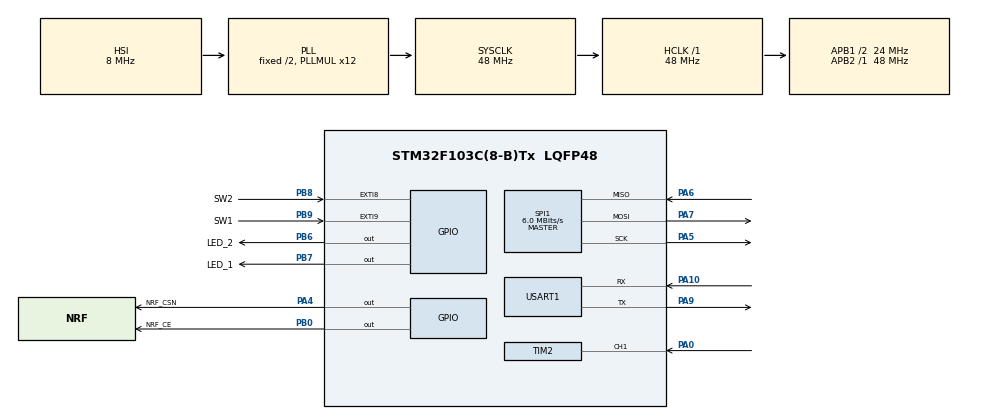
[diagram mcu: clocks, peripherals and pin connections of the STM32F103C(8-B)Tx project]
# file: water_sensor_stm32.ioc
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Mcu.Family=STM32F1
PA6.Mode=Full_Duplex_Master
TIM2.Channel-Input_Capture1_from_TI1=TIM_CHANNEL_1
PA7.Mode=Full_Duplex_Master
PD1-OSC_OUT.Mode=HSE-External-Oscillator
PB9.GPIO_Label=SW1
PA10.Mode=Asynchronous
SPI1.VirtualType=VM_MASTER
PB8.GPIO_PuPd=GPIO_PULLUP
PB0.GPIO_Label=NRF_CE
PB6.GPIO_Label=LED_2
PD0-OSC_IN.Signal=RCC_OSC_IN
RCC.APB1CLKDivider=RCC_HCLK_DIV2
RCC.SYSCLKSource=RCC_SYSCLKSOURCE_PLLCLK
ProjectManager.StackSize=0x400
PA0-WKUP.Signal=S_TIM2_CH1_ETR
PD1-OSC_OUT.Signal=RCC_OSC_OUT
PA13.Signal=SYS_JTMS-SWDIO
PB8.GPIO_Label=SW2
PA9.Mode=Asynchronous
ProjectManager.TargetToolchain=STM32CubeIDE
SPI1.Direction=SPI_DIRECTION_2LINES
RCC.HCLKFreq_Value=48000000
RCC.APB2TimFreq_Value=48000000
PA9.Signal=USART1_TX
PB6.Signal=GPIO_Output
SPI1.CalculateBaudRate=6.0 MBits/s
RCC.USBFreq_Value=48000000
RCC.AHBFreq_Value=48000000
PD0-OSC_IN.Mode=HSE-External-Oscillator
PA5.Signal=SPI1_SCK
board=custom
RCC.PLLMUL=RCC_PLL_MUL12
RCC.APB2Freq_Value=48000000
SPI1.Mode=SPI_MODE_MASTER
PA14.Mode=Serial_Wire
NVIC.TIM2_IRQn=true\:0\:0\:false\:false\:true\:true\:true
PB7.Signal=GPIO_Output
TIM2.Period=0xFFFF
PA13.Mode=Serial_Wire
Mcu.Name=STM32F103C(8-B)Tx
PB7.GPIO_Label=LED_1
PA4.Signal=GPIO_Output
RCC.SYSCLKFreq_VALUE=48000000
Mcu.Package=LQFP48
PB9.Signal=GPXTI9
TIM2.Prescaler=48-1
PA6.Signal=SPI1_MISO
USART1.VirtualMode=VM_ASYNC
SH.S_TIM2_CH1_ETR.0=TIM2_CH1,Input_Capture1_from_TI1
NVIC.EXTI9_5_IRQn=true\:0\:0\:false\:false\:true\:true\:true
PA10.Signal=USART1_RX
PA14.Signal=SYS_JTCK-SWCLK
PB9.GPIO_PuPd=GPIO_PULLUP
ProjectManager.HeapSize=0x200
NVIC.PriorityGroup=NVIC_PRIORITYGROUP_4
RCC.APB1TimFreq_Value=48000000
PB8.Signal=GPXTI8
RCC.APB1Freq_Value=24000000
SPI1.BaudRatePrescaler=SPI_BAUDRATEPRESCALER_8
PB0.Signal=GPIO_Output
PA4.GPIO_Label=NRF_CSN
PA5.Mode=Full_Duplex_Master
PA7.Signal=SPI1_MOSI

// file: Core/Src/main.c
/* USER CODE BEGIN Header */
/**
 ******************************************************************************
 * @file           : main.c
 * @brief          : Main program body
 ******************************************************************************
 * @attention
 *
 * <h2><center>&copy; Copyright (c) 2021 STMicroelectronics.
 * All rights reserved.</center></h2>
 *
 * This software component is licensed by ST under BSD 3-Clause license,
 * the "License"; You may not use this file except in compliance with the
 * License. You may obtain a copy of the License at:
 *                        opensource.org/licenses/BSD-3-Clause
 *
 ******************************************************************************
 */
/* USER CODE END Header */
#include "main.h"

/* USER CODE BEGIN Includes */
#include "stdio.h"
#include "string.h"
#include "float.h"
#include "nrf24.h"
#include "messages_stm.pb.h"
#include "pb.h"
#include "pb_encode.h"
#include "pb_decode.h"
#include "pb_common.h"
#include "flash_f1.h"
/* USER CODE END Includes */

/* USER CODE BEGIN PD */
#define FLASH_PAGE_ADDR 0x0801FC00
/* USER CODE END PD */

/* USER CODE BEGIN PM */
uint32_t sample1 = 0, sample2 = 0, diff = 0, freq = 0;
float cons_inst = 0, cons_total = 0;
uint8_t is_sample1 = 1, enable_send = 0;
uint16_t samples_freq[1024], n_samples = 0;

float aux_cons_inst = 0;
int samples = 0;

uint8_t master_address[6] = {"HUB01"};
uint8_t sensor_address[6] = {"0NODE"};
uint8_t pairing_address[6] = {"1NODE"};
char sensor_serial[6] = "WA101";
bool pairingMode = false;
uint8_t data[32];
uint8_t length;
/* USER CODE END PM */

SPI_HandleTypeDef hspi1;

TIM_HandleTypeDef htim2;

UART_HandleTypeDef huart1;

void SystemClock_Config(void);
static void MX_GPIO_Init(void);
static void MX_TIM2_Init(void);
static void MX_USART1_UART_Init(void);
static void MX_SPI1_Init(void);
static bool nrf_report();
static bool nrf_pairing();
static void nrf_pairing_report(char *_serial, int _channel);
/* USER CODE BEGIN PFP */
void r_PairingMessage(uint8_t *_data, int _data_len);
void w_message(double instant, int samples);
/* USER CODE END PFP */

/* USER CODE BEGIN 0 */
int _write(int file, char *ptr, int len)
{
  /* Implement your write code here, this is used by puts and printf for example */
  HAL_UART_Transmit(&huart1, (uint8_t *)ptr, len, 10);

  return len;
}

float freq_to_consumption(float freq)
{
  return ((11.086 * freq - 9.357) / 3.6); /*Eq da reta conforme datasheet - conversão para ml/s*/
}
/* USER CODE END 0 */

int main(void)
{
  /* USER CODE BEGIN 1 */
  /*Buffers flash*/
  //	uint8_t buff_write_flash[16] = {1, 2, 3, 4, 5, 6, 7, 8, 9, 10, 11, 12, 13, 14, 15, 16};
  //	uint8_t buff_read_flash[16];
  /* USER CODE END 1 */

  /* MCU Configuration--------------------------------------------------------*/

  /* Reset of all peripherals, Initializes the Flash interface and the Systick. */
  HAL_Init();

  /* Configure the system clock */
  SystemClock_Config();

  /* Initialize all configured peripherals */
  MX_GPIO_Init();
  MX_TIM2_Init();
  MX_USART1_UART_Init();
  MX_SPI1_Init();
  /* USER CODE BEGIN 2 */

  HAL_TIM_IC_Start_IT(&htim2, TIM_CHANNEL_1);

  /* Operações Flash*/
  //  Flash_Write_Data(FLASH_PAGE_ADDR , (uint32_t*)buff_write_flash, (sizeof(buff_write_flash)/sizeof(int)));
  //  Flash_Read_Data(FLASH_PAGE_ADDR , (uint32_t*)node_address[0], (sizeof(node_address[0])/sizeof(int)));

  NRF24_begin(GPIOB, NRF_CSN_Pin, NRF_CE_Pin, hspi1);

   NRF24_openWritingPipe(sensor_address, sizeof(sensor_address) - 1);

   NRF24_openReadingPipe(1, master_address, sizeof(master_address) - 1);
   //  NRF24_openReadingPipe(2, node_address[1], sizeof(node_address[1]) - 1);

   NRF24_stopListening();

   printRadioSettings();

   printf("END SETUP\n\n");

  /* Infinite loop */
  /* USER CODE BEGIN WHILE */
  while (1)
  {
    if (pairingMode)
    {
      NRF24_startListening();
      HAL_Delay(500);
      unsigned long start = HAL_GetTick();
      bool aux = false;
      while (aux != true && (unsigned long)(HAL_GetTick()) - start <= 15000)
      {
        if (nrf_pairing())
        {
          printf("\n\n[PAIRING] report");
          nrf_pairing_report(sensor_serial, 69);
          aux = true;
        }
        HAL_GPIO_TogglePin(LED_2_GPIO_Port, LED_2_Pin);
        HAL_Delay(50);
      }
      if ((unsigned long)(HAL_GetTick()) - start > 15000)
      {
        printf("\n\n[PAIRING] Timeout\n\n");
      }
      NRF24_stopListening();
      NRF24_openWritingPipe(pairing_address, sizeof(pairing_address) - 1);
      HAL_Delay(1500);
      NRF24_stopListening();
      start = HAL_GetTick();
      while (aux == true && (unsigned long)(HAL_GetTick()) - start <= 15000)
      {
        if (nrf_report())
        {
          aux = false;
          printf("\n\n[PAIRING] Success\n\n");
        }
        HAL_GPIO_TogglePin(LED_2_GPIO_Port, LED_2_Pin);
        HAL_Delay(250);
      }
      if ((unsigned long)(HAL_GetTick()) - start > 15000)
      {
        printf("\n\n[PAIRING] Timeout\n\n");
      }

      pairingMode = false;
      HAL_GPIO_WritePin(LED_2_GPIO_Port, LED_2_Pin, GPIO_PIN_SET);
      NRF24_stopListening();
      NRF24_openWritingPipe(sensor_address, sizeof(sensor_address) - 1);
      HAL_Delay(1500);
      NRF24_stopListening();
    }

    HAL_GPIO_TogglePin(GPIOC, GPIO_PIN_13);

    if (freq && n_samples > 8)
    {
      cons_inst = freq_to_consumption((float)(freq / n_samples)); // mL/s
      cons_total += (cons_inst / 1000);
      printf("Amostras: %d	Instantaneo:%.1f mL/seg Acumulado:%.3f L\r\n", (int)n_samples, cons_inst, cons_total);
      memset(samples_freq, 0, n_samples * 2);
      n_samples = 0;
      freq = 0;

      if (samples == 0)
        w_message(cons_inst, samples);
      else
        w_message(aux_cons_inst, samples);

      unsigned long start = HAL_GetTick();
      bool aux = false;
      while (aux == false && (unsigned long)(HAL_GetTick()) - start <= 500)
      {
        if (nrf_report())
        {
          aux_cons_inst = 0;
          samples = 0;
          aux = true;
          HAL_GPIO_TogglePin(LED_1_GPIO_Port, LED_1_Pin);
        }
      }
      if ((unsigned long)(HAL_GetTick()) - start > 500)
      {
        printf("\n[TX] Timeout\n");
        aux_cons_inst += cons_inst;
        samples++;
      }
    }

    HAL_Delay(1000);
    /* USER CODE END WHILE */

  }
}

void SystemClock_Config(void)
{
  RCC_OscInitTypeDef RCC_OscInitStruct = {0};
  RCC_ClkInitTypeDef RCC_ClkInitStruct = {0};

  /** Initializes the RCC Oscillators according to the specified parameters
   * in the RCC_OscInitTypeDef structure.
   */
  RCC_OscInitStruct.OscillatorType = RCC_OSCILLATORTYPE_HSI;
  RCC_OscInitStruct.HSIState = RCC_HSI_ON;
  RCC_OscInitStruct.HSICalibrationValue = RCC_HSICALIBRATION_DEFAULT;
  RCC_OscInitStruct.PLL.PLLState = RCC_PLL_ON;
  RCC_OscInitStruct.PLL.PLLSource = RCC_PLLSOURCE_HSI_DIV2;
  RCC_OscInitStruct.PLL.PLLMUL = RCC_PLL_MUL12;
  if (HAL_RCC_OscConfig(&RCC_OscInitStruct) != HAL_OK)
  {
    Error_Handler();
  }
  /** Initializes the CPU, AHB and APB buses clocks
   */
  RCC_ClkInitStruct.ClockType = RCC_CLOCKTYPE_HCLK | RCC_CLOCKTYPE_SYSCLK | RCC_CLOCKTYPE_PCLK1 | RCC_CLOCKTYPE_PCLK2;
  RCC_ClkInitStruct.SYSCLKSource = RCC_SYSCLKSOURCE_PLLCLK;
  RCC_ClkInitStruct.AHBCLKDivider = RCC_SYSCLK_DIV1;
  RCC_ClkInitStruct.APB1CLKDivider = RCC_HCLK_DIV2;
  RCC_ClkInitStruct.APB2CLKDivider = RCC_HCLK_DIV1;

  if (HAL_RCC_ClockConfig(&RCC_ClkInitStruct, FLASH_LATENCY_1) != HAL_OK)
  {
    Error_Handler();
  }
}

static void MX_SPI1_Init(void)
{

  /* SPI1 parameter configuration*/
  hspi1.Instance = SPI1;
  hspi1.Init.Mode = SPI_MODE_MASTER;
  hspi1.Init.Direction = SPI_DIRECTION_2LINES;
  hspi1.Init.DataSize = SPI_DATASIZE_8BIT;
  hspi1.Init.CLKPolarity = SPI_POLARITY_LOW;
  hspi1.Init.CLKPhase = SPI_PHASE_1EDGE;
  hspi1.Init.NSS = SPI_NSS_SOFT;
  hspi1.Init.BaudRatePrescaler = SPI_BAUDRATEPRESCALER_8;
  hspi1.Init.FirstBit = SPI_FIRSTBIT_MSB;
  hspi1.Init.TIMode = SPI_TIMODE_DISABLE;
  hspi1.Init.CRCCalculation = SPI_CRCCALCULATION_DISABLE;
  hspi1.Init.CRCPolynomial = 10;
  if (HAL_SPI_Init(&hspi1) != HAL_OK)
  {
    Error_Handler();
  }
}

static void MX_TIM2_Init(void)
{

  TIM_MasterConfigTypeDef sMasterConfig = {0};
  TIM_IC_InitTypeDef sConfigIC = {0};

  htim2.Instance = TIM2;
  htim2.Init.Prescaler = 48 - 1;
  htim2.Init.CounterMode = TIM_COUNTERMODE_UP;
  htim2.Init.Period = 0xFFFF;
  htim2.Init.ClockDivision = TIM_CLOCKDIVISION_DIV1;
  htim2.Init.AutoReloadPreload = TIM_AUTORELOAD_PRELOAD_DISABLE;
  if (HAL_TIM_IC_Init(&htim2) != HAL_OK)
  {
    Error_Handler();
  }
  sMasterConfig.MasterOutputTrigger = TIM_TRGO_RESET;
  sMasterConfig.MasterSlaveMode = TIM_MASTERSLAVEMODE_DISABLE;
  if (HAL_TIMEx_MasterConfigSynchronization(&htim2, &sMasterConfig) != HAL_OK)
  {
    Error_Handler();
  }
  sConfigIC.ICPolarity = TIM_INPUTCHANNELPOLARITY_RISING;
  sConfigIC.ICSelection = TIM_ICSELECTION_DIRECTTI;
  sConfigIC.ICPrescaler = TIM_ICPSC_DIV1;
  sConfigIC.ICFilter = 0;
  if (HAL_TIM_IC_ConfigChannel(&htim2, &sConfigIC, TIM_CHANNEL_1) != HAL_OK)
  {
    Error_Handler();
  }
}

static void MX_USART1_UART_Init(void)
{

  huart1.Instance = USART1;
  huart1.Init.BaudRate = 115200;
  huart1.Init.WordLength = UART_WORDLENGTH_8B;
  huart1.Init.StopBits = UART_STOPBITS_1;
  huart1.Init.Parity = UART_PARITY_NONE;
  huart1.Init.Mode = UART_MODE_TX_RX;
  huart1.Init.HwFlowCtl = UART_HWCONTROL_NONE;
  huart1.Init.OverSampling = UART_OVERSAMPLING_16;
  if (HAL_UART_Init(&huart1) != HAL_OK)
  {
    Error_Handler();
  }
}

static void MX_GPIO_Init(void)
{
  GPIO_InitTypeDef GPIO_InitStruct = {0};

  /* GPIO Ports Clock Enable */
  __HAL_RCC_GPIOD_CLK_ENABLE();
  __HAL_RCC_GPIOA_CLK_ENABLE();
  __HAL_RCC_GPIOB_CLK_ENABLE();

  /*Configure GPIO pin Output Level */
  HAL_GPIO_WritePin(NRF_CSN_GPIO_Port, NRF_CSN_Pin, GPIO_PIN_RESET);

  /*Configure GPIO pin Output Level */
  HAL_GPIO_WritePin(GPIOB, NRF_CE_Pin | LED_2_Pin | LED_1_Pin, GPIO_PIN_RESET);

  /*Configure GPIO pin : NRF_CSN_Pin */
  GPIO_InitStruct.Pin = NRF_CSN_Pin;
  GPIO_InitStruct.Mode = GPIO_MODE_OUTPUT_PP;
  GPIO_InitStruct.Pull = GPIO_NOPULL;
  GPIO_InitStruct.Speed = GPIO_SPEED_FREQ_LOW;
  HAL_GPIO_Init(NRF_CSN_GPIO_Port, &GPIO_InitStruct);

  /*Configure GPIO pins : NRF_CE_Pin LED_2_Pin LED_1_Pin */
  GPIO_InitStruct.Pin = NRF_CE_Pin | LED_2_Pin | LED_1_Pin;
  GPIO_InitStruct.Mode = GPIO_MODE_OUTPUT_PP;
  GPIO_InitStruct.Pull = GPIO_NOPULL;
  GPIO_InitStruct.Speed = GPIO_SPEED_FREQ_LOW;
  HAL_GPIO_Init(GPIOB, &GPIO_InitStruct);

  /*Configure GPIO pins : SW2_Pin SW1_Pin */
  GPIO_InitStruct.Pin = SW2_Pin | SW1_Pin;
  GPIO_InitStruct.Mode = GPIO_MODE_IT_RISING;
  GPIO_InitStruct.Pull = GPIO_PULLUP;
  HAL_GPIO_Init(GPIOB, &GPIO_InitStruct);

  /* EXTI interrupt init*/
  HAL_NVIC_SetPriority(EXTI9_5_IRQn, 0, 0);
  HAL_NVIC_EnableIRQ(EXTI9_5_IRQn);
}

/* USER CODE BEGIN 4 */
void HAL_TIM_IC_CaptureCallback(TIM_HandleTypeDef *htim)
{

  if (htim->Channel == HAL_TIM_ACTIVE_CHANNEL_1)
  {

    if (is_sample1)
    {
      sample1 = HAL_TIM_ReadCapturedValue(htim, TIM_CHANNEL_1);
      is_sample1 = 0;
    }
    else
    {
      sample2 = HAL_TIM_ReadCapturedValue(htim, TIM_CHANNEL_1);
      diff = (sample2 > sample1) ? (sample2 - sample1) : ((0xFFFF - sample1) + sample2 + 1);

      samples_freq[n_samples] = (HAL_RCC_GetPCLK1Freq() / 24) / diff;

      __HAL_TIM_SetCounter(htim, 0);

      freq += samples_freq[n_samples++];
      is_sample1 = 1;
    }
  }
}

unsigned long last_micros;
void HAL_GPIO_EXTI_Callback(uint16_t GPIO_Pin)
{
  unsigned long debouncing_time = 200; // Debouncing Time in Milliseconds
  if (GPIO_Pin == SW1_Pin)
  {
    if ((HAL_GetTick() - last_micros >= debouncing_time))
    {
      printf("\n\n\nSW1\n\n\n");
      last_micros = HAL_GetTick();
    }
  }
  if (GPIO_Pin == SW2_Pin)
  {
    if ((HAL_GetTick() - last_micros >= debouncing_time))
    {
      printf("\n\n\nPAIRING MODE ON\n\n\n");
      pairingMode = true;
      last_micros = HAL_GetTick();
    }
  }
}

void w_message(double instant, int samples)
{
  uint8_t buffer[32];
  WaterSensorReport msg = WaterSensorReport_init_zero;

  pb_ostream_t stream = pb_ostream_from_buffer(buffer, sizeof(buffer));

  msg.instant = instant;
  msg.samples = samples;
  pb_encode(&stream, WaterSensorReport_fields, &msg);

  printf("MSG SERIALIZED : ");
  for (int i = 0; i < stream.bytes_written; i++)
  {
    data[i] = buffer[i];
    printf("%02X", data[i]);
  }
  printf("\n");

  data[31] = (uint8_t)stream.bytes_written;
}

bool nrf_report()
{
  unsigned long start_time = HAL_GetTick();
  bool reported = NRF24_write(&data, sizeof(data)); // transmit & save the report
  unsigned long end_time = HAL_GetTick();

  if (reported)
  {
    printf("Transmission successful!"); // payload was delivered
    printf("Tranmission time %lu ms\nSent: ", end_time - start_time);
    for (int i = 0; i < 32; i++)
    {
      printf("%02X", data[i]);
    }
    printf("\n");
  }
  return reported;
}

void nrf_pairing_report(char *_serial, int _channel)
{
  uint8_t buffer[32];
  PairingMessage msg = PairingMessage_init_zero;

  pb_ostream_t stream = pb_ostream_from_buffer(buffer, sizeof(buffer));

  strcpy(msg.serial, _serial);
  msg.channel = _channel;
  pb_encode(&stream, PairingMessage_fields, &msg);

  printf("\nPairing Msg : ");
  for (int i = 0; i < stream.bytes_written; i++)
  {
    data[i] = buffer[i];
    printf("%02X", data[i]);
  }
  printf("\n");

  data[31] = (uint8_t)stream.bytes_written;
}

bool nrf_pairing()
{
  uint8_t pipe;
  if (NRF24_availablePipe(&pipe))
  {
    uint8_t bytes = NRF24_getPayloadSize(); // get the size of the payload
    NRF24_read(&data, bytes);               // fetch payload from FIFO
    printf("Received %d \n", bytes);        // print the size of the payload
    printf(" bytes on pipe %d \n", pipe);
    for (int i = 0; i < bytes; i++)
    {
      printf("%02X", data[i]);
    }
    printf("\n");
    printf("\n");
    r_PairingMessage(data, bytes);
    printf("\n");
    return true;
  }
  return false;
}

void r_PairingMessage(uint8_t *_data, int _data_len)
{
  PairingMessage msg = PairingMessage_init_zero;
  pb_istream_t stream = pb_istream_from_buffer(_data, _data_len);
  pb_decode(&stream, PairingMessage_fields, &msg);

  printf("DECODED: Serial: %s  Channel: %d\r\n", msg.serial, (int)msg.channel);
  for (int i = 0; i < 6; i++)
    sensor_address[i] = (uint8_t)msg.serial[i];
  Flash_Write_Data(FLASH_PAGE_ADDR, (uint32_t *)sensor_address, (sizeof(sensor_address) / sizeof(int)));
}
/* USER CODE END 4 */

void Error_Handler(void)
{
  __disable_irq();
  while (1)
  {
  }
}

/************************ (C) COPYRIGHT STMicroelectronics *****END OF FILE****/
